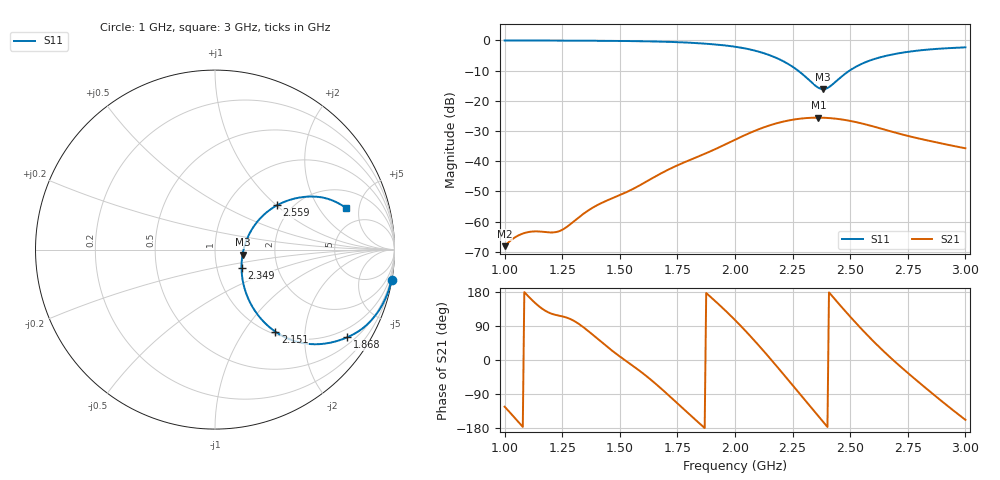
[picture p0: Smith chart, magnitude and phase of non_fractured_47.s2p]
! TOUCHSTONE file generated by CST MICROWAVE STUDIO
! Date and time: Sat Mar  8 13:54:14 2025
! Project name: non_fractured.cst
! Parameters = {B=2.5; D=160; F=15; Feed=2.85625; L=100; M=5; R=0.384908; S=2.5; Theta=180; length=57.125; wave=114.25}
! Header version: 2024
! Port assignment regex: !\s*Touchstone port\s*([0-9]+)\s*=\s*(CST MWS port|CST DES external port|CST DES block port)\s*(.+)\s* \(\"(.*)\"\)(\s*mode\s*([0-9]+))?.*
! Touchstone port assignment:
! Touchstone port 1 = CST MWS port 1 ("")
! Touchstone port 2 = CST MWS port 2 ("")
# GHz S DB R 50
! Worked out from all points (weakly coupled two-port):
!   305 points, 1 GHz to 3 GHz, reference 50 ohm
!   highest |S21| = -25.56 dB at 2.362 GHz (marker M1); lowest = -68.1 dB at 1 GHz (marker M2)
!   lowest |S11| = -16.1 dB at 2.382 GHz (marker M3), VSWR 1.37, Z = 68 - j3.98 ohm
!   |S11| at or under -10 dB: 2.274 GHz to 2.497 GHz (223.5 MHz wide, 9.37 % of centre)
!   S12 and S22 are empty: the file has one direction only
!   S11 on the Smith chart (normalised r, x): 1 GHz: 0, -12; 1.868 GHz: 0.71, -3.18; 2.151 GHz: 1.04, -1.41; 2.349 GHz: 1.31, -0.27; 2.559 GHz: 1.68, +1.01; 3 GHz: 3.28, +3.69
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1  -0.02 -9.7  -68.10 -123.3  -200.00 0.0  -200.00 0.0
1.04605  -0.02 -10.4  -65.14 -154.1  -200.00 0.0  -200.00 0.0
1.09211  -0.03 -11.0  -63.61 174.9  -200.00 0.0  -200.00 0.0
1.23684  -0.06 -13.3  -63.14 116.9  -200.00 0.0  -200.00 0.0
1.33553  -0.09 -15.2  -57.76 89.5  -200.00 0.0  -200.00 0.0
1.40132  -0.12 -16.5  -54.55 57.0  -200.00 0.0  -200.00 0.0
1.54605  -0.22 -20.2  -49.59 -10.8  -200.00 0.0  -200.00 0.0
1.67105  -0.39 -24.3  -44.33 -70.9  -200.00 0.0  -200.00 0.0
1.86842  -1.07 -33.5  -37.54 -179.6  -200.00 0.0  -200.00 0.0
2  -2.09 -42.1  -32.88 105.5  -200.00 0.0  -200.00 0.0
2.15132  -4.93 -53.7  -28.10 4.8  -200.00 0.0  -200.00 0.0
2.25  -8.71 -56.7  -26.26 -66.5  -200.00 0.0  -200.00 0.0
2.33553  -14.10 -41.0  -25.59 -129.2  -200.00 0.0  -200.00 0.0
2.34868  -14.96 -34.2  -25.57 -138.7  -200.00 0.0  -200.00 0.0
2.36184  -15.66 -25.7  -25.56 -148.3  -200.00 0.0  -200.00 0.0
2.38158  -16.14 -10.6  -25.59 -162.6  -200.00 0.0  -200.00 0.0
2.40789  -15.46 9.2  -25.70 178.5  -200.00 0.0  -200.00 0.0
2.47368  -11.30 32.7  -26.29 132.3  -200.00 0.0  -200.00 0.0
2.55921  -7.44 35.5  -27.65 75.3  -200.00 0.0  -200.00 0.0
2.67105  -4.85 30.8  -30.00 8.4  -200.00 0.0  -200.00 0.0
2.82895  -3.09 23.4  -33.00 -74.6  -200.00 0.0  -200.00 0.0
3  -2.30 17.5  -35.70 -157.9  -200.00 0.0  -200.00 0.0
